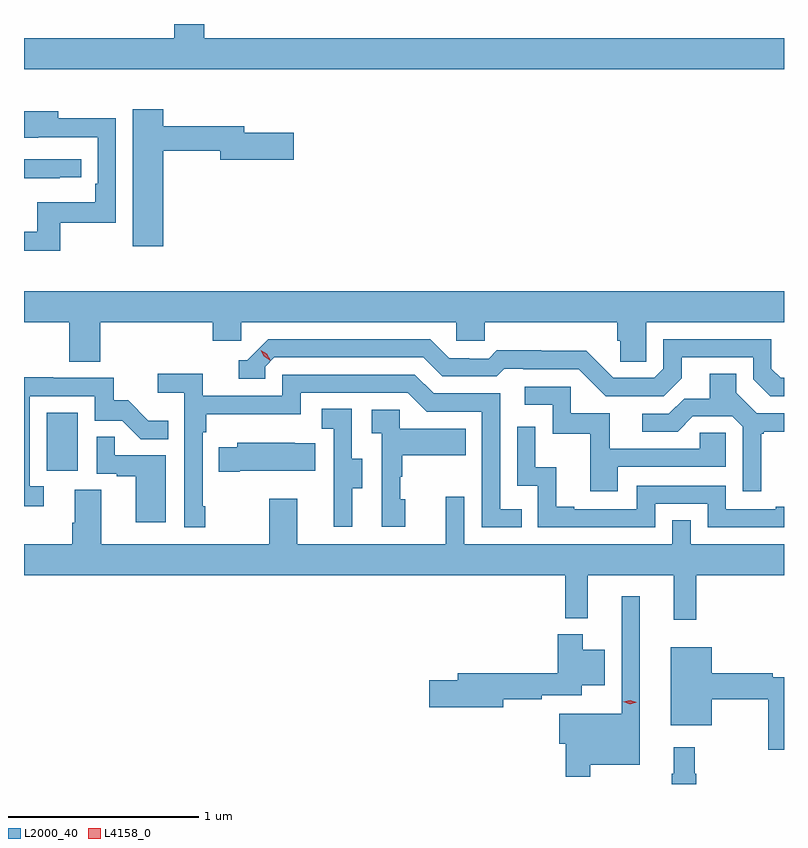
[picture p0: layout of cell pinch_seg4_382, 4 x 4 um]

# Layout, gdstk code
import gdstk
lib = gdstk.Library(unit=1e-6, precision=1e-09)
def R(c, l, rs):  # rectangles x0, y0, x1, y1
    for r in rs: c.add(gdstk.rectangle(r[:2], r[2:], *l))
def P(c, l, *ps):  # polygons
    for p in ps: c.add(gdstk.Polygon(p, *l))
L2000_40 = (2000, 40)
L4158_0 = (4158, 0)

pinch_seg4_382 = lib.new_cell('pinch_seg4_382')
R(pinch_seg4_382, L2000_40, [(999.374,782.718,999.538,783.025)])
P(pinch_seg4_382, L2000_40, [(1003.254,784.996),(1000.202,784.996),(1000.202,785.07),(1000.045,785.07),(1000.045,784.996),(999.254,784.996),(999.254,784.832),(1003.254,784.832)],
  [(999.988,784.402),(1000.286,784.402),(1000.286,784.355),(1000.675,784.355),(1000.675,784.497),(1000.414,784.497),(1000.414,784.531),(999.988,784.531),(999.988,784.621),(999.827,784.621),(999.827,783.9),(999.988,783.9)],
  [(999.445,784.023),(999.738,784.023),(999.738,784.574),(999.433,784.574),(999.433,784.612),(999.254,784.612),(999.254,784.472),(999.329,784.472),(999.329,784.473),(999.642,784.473),(999.642,784.228),(999.629,784.228),(999.629,784.132),(999.324,784.132),(999.324,783.977),(999.254,783.977),(999.254,783.876),(999.445,783.876)],
  [(999.443,784.263),(999.556,784.263),(999.556,784.359),(999.254,784.359),(999.254,784.258),(999.443,784.258)],
  [(999.656,783.5),(1000.247,783.5),(1000.247,783.402),(1000.398,783.402),(1000.398,783.5),(1001.529,783.5),(1001.529,783.402),(1001.679,783.402),(1001.679,783.5),(1002.377,783.5),(1002.377,783.402),(1002.391,783.402),(1002.391,783.292),(1002.528,783.292),(1002.528,783.5),(1003.254,783.5),(1003.254,783.664),(999.254,783.664),(999.254,783.5),(999.491,783.5),(999.491,783.292),(999.656,783.292)],
  [(1002.715,783.205),(1002.715,783.315),(1003.092,783.315),(1003.092,783.201),(1003.182,783.111),(1003.254,783.111),(1003.254,783.207),(1003.236,783.207),(1003.188,783.255),(1003.188,783.411),(1002.618,783.411),(1002.618,783.255),(1002.57,783.207),(1002.354,783.207),(1002.212,783.349),(1001.976,783.349),(1001.976,783.352),(1001.743,783.352),(1001.701,783.309),(1001.598,783.309),(1001.598,783.312),(1001.491,783.312),(1001.392,783.411),(1000.539,783.411),(1000.428,783.3),(1000.385,783.3),(1000.385,783.204),(1000.524,783.204),(1000.524,783.267),(1000.572,783.315),(1001.355,783.315),(1001.454,783.216),(1001.743,783.216),(1001.782,783.255),(1001.881,783.255),(1001.881,783.252),(1002.174,783.252),(1002.315,783.111),(1002.621,783.111)],
  [(1003.135,782.913),(1003.147,782.913),(1003.147,782.924),(1003.254,782.924),(1003.254,783.021),(1003.11,783.021),(1003.003,783.128),(1003.003,783.23),(1002.863,783.23),(1002.863,783.098),(1002.728,783.098),(1002.648,783.018),(1002.507,783.018),(1002.507,782.925),(1002.694,782.925),(1002.775,783.006),(1002.981,783.006),(1003.038,782.949),(1003.038,782.61),(1003.135,782.61)],
  [(1000.207,782.533),(1000.194,782.533),(1000.194,782.921),(1000.214,782.921),(1000.214,783.017),(1000.71,783.017),(1000.71,783.129),(1001.274,783.129),(1001.373,783.03),(1001.664,783.03),(1001.664,782.421),(1001.873,782.421),(1001.873,782.517),(1001.76,782.517),(1001.76,783.126),(1001.41,783.126),(1001.311,783.225),(1000.614,783.225),(1000.614,783.114),(1000.196,783.114),(1000.196,783.23),(999.957,783.23),(999.957,783.128),(1000.098,783.128),(1000.098,782.421),(1000.207,782.421)],
  [(999.358,782.637),(999.285,782.637),(999.285,783.111),(999.627,783.111),(999.627,782.982),(999.771,782.982),(999.869,782.884),(1000.013,782.884),(1000.013,782.983),(999.909,782.983),(999.802,783.09),(999.726,783.09),(999.726,783.207),(999.407,783.207),(999.407,783.212),(999.254,783.212),(999.254,782.532),(999.358,782.532)],
  [(1002.379,782.739),(1002.948,782.739),(1002.948,782.919),(1002.811,782.919),(1002.811,782.835),(1002.337,782.835),(1002.337,783.021),(1002.132,783.021),(1002.132,783.162),(1001.889,783.162),(1001.889,783.066),(1002.036,783.066),(1002.036,782.913),(1002.235,782.913),(1002.235,782.61),(1002.379,782.61)],
  [(1000.981,782.626),(1001.035,782.626),(1001.035,782.781),(1000.98,782.781),(1000.98,783.044),(1000.821,783.044),(1000.821,782.941),(1000.884,782.941),(1000.884,782.637),(1000.883,782.637),(1000.883,782.424),(1000.981,782.424)],
  [(1001.26,782.568),(1001.235,782.568),(1001.235,782.687),(1001.245,782.687),(1001.245,782.801),(1001.579,782.801),(1001.579,782.941),(1001.232,782.941),(1001.232,783.039),(1001.085,783.039),(1001.085,782.915),(1001.136,782.915),(1001.136,782.424),(1001.26,782.424)],
  [(1002.576,782.544),(1002.852,782.544),(1002.852,782.421),(1003.254,782.421),(1003.254,782.53),(1003.211,782.53),(1003.211,782.517),(1002.948,782.517),(1002.948,782.64),(1002.48,782.64),(1002.48,782.517),(1002.151,782.517),(1002.151,782.53),(1002.056,782.53),(1002.056,782.738),(1001.946,782.738),(1001.946,782.95),(1001.85,782.95),(1001.85,782.64),(1001.958,782.64),(1001.958,782.421),(1002.576,782.421)],
  [(1000,782.799),(999.731,782.799),(999.731,782.897),(999.636,782.897),(999.636,782.703),(999.743,782.703),(999.743,782.691),(999.842,782.691),(999.842,782.448),(1000,782.448)],
  [(1000.39,782.72),(1000.787,782.72),(1000.787,782.863),(1000.679,782.863),(1000.679,782.866),(1000.377,782.866),(1000.377,782.842),(1000.279,782.842),(1000.279,782.713),(1000.39,782.713)],
  [(1002.791,782.168),(1003.254,782.168),(1003.254,782.332),(1002.762,782.332),(1002.762,782.459),(1002.666,782.459),(1002.666,782.332),(1001.571,782.332),(1001.571,782.581),(1001.474,782.581),(1001.474,782.332),(1000.693,782.332),(1000.693,782.572),(1000.546,782.572),(1000.546,782.332),(999.661,782.332),(999.661,782.618),(999.521,782.618),(999.521,782.444),(999.509,782.444),(999.509,782.332),(999.254,782.332),(999.254,782.168),(1002.103,782.168),(1002.103,781.943),(1002.221,781.943),(1002.221,782.168),(1002.674,782.168),(1002.674,781.935),(1002.791,781.935)],
  [(1002.235,781.172),(1002.496,781.172),(1002.496,782.059),(1002.399,782.059),(1002.399,781.441),(1002.072,781.441),(1002.072,781.283),(1002.106,781.283),(1002.106,781.107),(1002.235,781.107)],
  [(1001.776,781.516),(1001.978,781.516),(1001.978,781.536),(1002.19,781.536),(1002.19,781.589),(1002.31,781.589),(1002.31,781.777),(1002.196,781.777),(1002.196,781.858),(1002.062,781.858),(1002.062,781.652),(1001.537,781.652),(1001.537,781.616),(1001.388,781.616),(1001.388,781.474),(1001.776,781.474)],
  [(1003.254,781.632),(1003.196,781.632),(1003.196,781.652),(1002.874,781.652),(1002.874,781.789),(1002.659,781.789),(1002.659,781.379),(1002.874,781.379),(1002.874,781.516),(1003.172,781.516),(1003.172,781.251),(1003.254,781.251)],
  [(1002.791,781.124),(1002.784,781.124),(1002.784,781.264),(1002.674,781.264),(1002.674,781.124),(1002.663,781.124),(1002.663,781.07),(1002.791,781.07)])
P(pinch_seg4_382, L4158_0, [(1002.444,781.491),(1002.409,781.502),(1002.409,781.502),(1002.409,781.503),(1002.445,781.511),(1002.48,781.499),(1002.48,781.499),(1002.48,781.499)],
  [(1000.548,783.301),(1000.517,783.321),(1000.501,783.353),(1000.501,783.354),(1000.501,783.354),(1000.532,783.334),(1000.549,783.302),(1000.549,783.301)])

lib.write_gds('pinch_seg4_382.gds')
